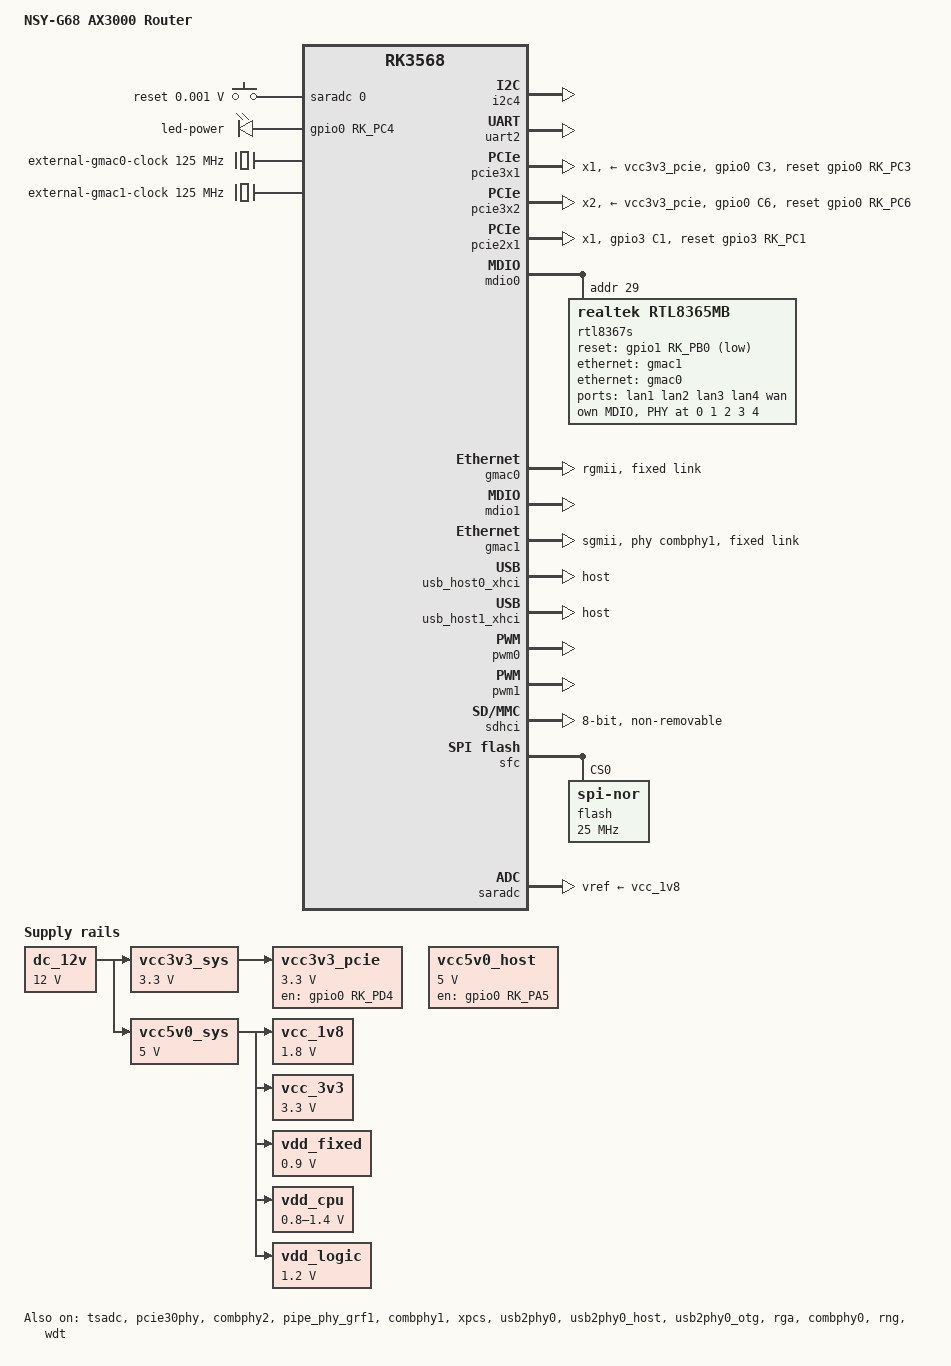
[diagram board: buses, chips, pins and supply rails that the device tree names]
// SPDX-License-Identifier: (GPL-2.0+ OR MIT)

/dts-v1/;

#include <dt-bindings/gpio/gpio.h>
#include <dt-bindings/pwm/pwm.h>
#include <dt-bindings/leds/common.h>
#include <dt-bindings/input/input.h>
#include <dt-bindings/soc/rockchip,vop2.h>
#include <dt-bindings/pinctrl/rockchip.h>
#include "rk3568.dtsi"

/ {
	model = "NSY-G68 AX3000 Router";
	compatible = "nsy,g68-plus", "rockchip,rk3568";

	aliases {
		ethernet0 = &gmac0;
		ethernet1 = &gmac1;
		mmc0 = &sdhci;
	};

	chosen: chosen {
		stdout-path = "serial2:1500000n8";
	};

	fiq-debugger {
		compatible = "rockchip,fiq-debugger";
		rockchip,serial-id = <2>;
		rockchip,wake-irq = <0>;
		/* If enable uart uses irq instead of fiq */
		rockchip,irq-mode-enable = <1>;
		rockchip,baudrate = <1500000>;  /* Only 115200 and 1500000 */
		interrupts = <GIC_SPI 252 IRQ_TYPE_LEVEL_LOW>;
		pinctrl-names = "default";
		pinctrl-0 = <&uart2m0_xfer>;
		status = "okay";
	};

	debug: debug@fd904000 {
		compatible = "rockchip,debug";
		reg = <0x0 0xfd904000 0x0 0x1000>,
			<0x0 0xfd905000 0x0 0x1000>,
			<0x0 0xfd906000 0x0 0x1000>,
			<0x0 0xfd907000 0x0 0x1000>;
	};

	dc_12v: dc-12v {
		compatible = "regulator-fixed";
		regulator-name = "dc_12v";
		regulator-always-on;
		regulator-boot-on;
		regulator-min-microvolt = <12000000>;
		regulator-max-microvolt = <12000000>;
	};

	vcc3v3_sys: vcc3v3-sys {
		compatible = "regulator-fixed";
		regulator-name = "vcc3v3_sys";
		regulator-always-on;
		regulator-boot-on;
		regulator-min-microvolt = <3300000>;
		regulator-max-microvolt = <3300000>;
		vin-supply = <&dc_12v>;
	};

	vcc5v0_sys: vcc5v0-sys {
		compatible = "regulator-fixed";
		regulator-name = "vcc5v0_sys";
		regulator-always-on;
		regulator-boot-on;
		regulator-min-microvolt = <5000000>;
		regulator-max-microvolt = <5000000>;
		vin-supply = <&dc_12v>;
	};

	vcc5v0_host: vcc5v0-host-regulator {
		compatible = "regulator-fixed";
		regulator-name = "vcc5v0_host";
		regulator-boot-on;
		regulator-always-on;
		regulator-min-microvolt = <5000000>;
		regulator-max-microvolt = <5000000>;
		enable-active-high;
		gpio = <&gpio0 RK_PA5 GPIO_ACTIVE_HIGH>;
		pinctrl-names = "default";
		pinctrl-0 = <&vcc5v0_host_en>;
	};

	vcc_1v8: vcc-1v8 {
		compatible = "regulator-fixed";
		regulator-name = "vcc_1v8";
		regulator-always-on;
		regulator-boot-on;
		regulator-min-microvolt = <1800000>;
		regulator-max-microvolt = <1800000>;
		vin-supply = <&vcc5v0_sys>;
	};

	vcc_3v3: vcc_3v3 {
		compatible = "regulator-fixed";
		regulator-name = "vcc_3v3";
		regulator-always-on;
		regulator-boot-on;
		regulator-min-microvolt = <3300000>;
		regulator-max-microvolt = <3300000>;
		vin-supply = <&vcc5v0_sys>;
	};

	vcc3v3_pcie: vcc3v3-pcie {
		compatible = "regulator-fixed";
		regulator-name = "vcc3v3_pcie";
		enable-active-high;
		gpio = <&gpio0 RK_PD4 GPIO_ACTIVE_HIGH>;
		regulator-min-microvolt = <3300000>;
		regulator-max-microvolt = <3300000>;
		vin-supply = <&vcc3v3_sys>;
	};

	vccio_sd: LDO_REG5 {
		regulator-always-on;
		regulator-boot-on;
		regulator-min-microvolt = <1800000>;
		regulator-max-microvolt = <3300000>;
		regulator-name = "vccio_sd";

		regulator-state-mem {
			regulator-off-in-suspend;
		};
	};

	vcc3v3_sd: SWITCH_REG2 {
		regulator-always-on;
		regulator-boot-on;
		regulator-name = "vcc3v3_sd";

		regulator-state-mem {
			regulator-off-in-suspend;
		};
	};

	vdd_fixed: vdd-fixed {
		compatible = "regulator-fixed";
		regulator-name = "vdd_fixed";
		regulator-min-microvolt = <900000>;
		regulator-max-microvolt = <900000>;
		regulator-always-on;
		regulator-boot-on;
		vin-supply = <&vcc5v0_sys>;
	};

	vdd_cpu: vdd-cpu {
		compatible = "pwm-regulator";
		rockchip,pwm_id = <0>;
		rockchip,pwm_voltage = <900000>;
		pwms = <&pwm0 0 25000 1>;
		regulator-name = "vdd_cpu";
		regulator-min-microvolt = <800000>;
		regulator-max-microvolt = <1400000>;
		regulator-init-microvolt = <1150000>;
		regulator-always-on;
		regulator-boot-on;
		regulator-settling-time-up-us = <250>;
		pwm-supply = <&vcc5v0_sys>;
		status = "okay";
	};


	vdd_logic: vdd-logic {
		compatible = "pwm-regulator";
		rockchip,pwm_id = <1>;
		rockchip,pwm_voltage = <900000>;
		pwms = <&pwm1 0 5000 1>;
		regulator-name = "vdd_logic";
		regulator-min-microvolt = <1200000>;
		regulator-max-microvolt = <1200000>;
		regulator-init-microvolt = <900000>;
		regulator-always-on;
		regulator-boot-on;
		regulator-settling-time-up-us = <250>;
		pwm-supply = <&vcc5v0_sys>;
		status = "okay";
	};

	vdd_npu: vdd-npu {
		compatible = "pwm-regulator";
		pwms = <&pwm2 0 5000 1>;
		regulator-name = "vdd_npu";
		regulator-min-microvolt = <800000>;
		regulator-max-microvolt = <1200000>;
		regulator-init-microvolt = <950000>;
		regulator-always-on;
		regulator-boot-on;
		regulator-settling-time-up-us = <250>;
		pwm-supply = <&vcc5v0_sys>;
		status = "disabled";
	};

	gmac0_xpcsclk: xpcs-gmac0-clock {
		compatible = "fixed-clock";
		clock-frequency = <125000000>;
		clock-output-names = "clk_gmac0_xpcs_mii";
		#clock-cells = <0>;
	};

	gmac1_xpcsclk: xpcs-gmac1-clock {
		compatible = "fixed-clock";
		clock-frequency = <125000000>;
		clock-output-names = "clk_gmac1_xpcs_mii";
		#clock-cells = <0>;
	};

	adc_keys: adc-keys {
		compatible = "adc-keys";
		io-channels = <&saradc 0>;
		io-channel-names = "buttons";
		keyup-threshold-microvolt = <1800000>;
		poll-interval = <100>;
		status = "okay";
		recovery-key {
			label = "reset";
			linux,code = <KEY_RESTART>;
			press-threshold-microvolt = <1000>;
		};
	};

	leds {
		compatible = "gpio-leds";
		led-power {
			label = "led-power";
			default-state = "on";
			gpios = <&gpio0 RK_PC4 GPIO_ACTIVE_HIGH>;
			pinctrl-names = "default";
			pinctrl-0 = <&led_power_en>;
		};
	};

	rtlgsw@0 {
		compatible = "realtek,rtl8367s";
		realtek,mdio = <&mdio0>;
		mii-bus = <&mdio0>;
		realtek,id = <29>;
		phy-id = <29>;
		cpu_port = <7>;

		//txdelay, rxdelay, mode, ability.force_mode, ability.txpause, ability.rxpause, ability.link, ability.duplex, speed
		//sgmii,
		realtek,extif1 = <0 0 11 1 1 1 1 1 2>;
		//rgmii
		realtek,extif2 = <0 0 1 1 1 1 1 1 2>;
		//realtek,disable-leds;
		status = "okay";
	};
	
	rockchip-suspend {
		compatible = "rockchip,pm-rk3568";
		status = "okay";
		rockchip,sleep-debug-en = <0x01>;
		rockchip,sleep-mode-config = <0x4e4>;
		rockchip,wakeup-config = <0x2001>;
	};

	external-gmac0-clock {
		#clock-cells = <0x00>;
		clock-frequency = <125000000>;
		clock-output-names = "gmac0_clkin";
		compatible = "fixed-clock";
	};

	external-gmac1-clock {
		#clock-cells = <0x00>;
		clock-frequency = <125000000>;
		clock-output-names = "gmac1_clkin";
		compatible = "fixed-clock";
	};
};

&i2c0 {
	status = "disabled";
};

&i2c4 {
	status = "okay";
};

&pinctrl {
	usb {
		vcc5v0_host_en: vcc5v0-host-en {
			rockchip,pins = <0 RK_PA5 RK_FUNC_GPIO &pcfg_pull_none>;
		};
	};

	pcie {
		pcie30x1_reset_h: pcie30x1-reset-h {
			rockchip,pins = <0 RK_PC3 RK_FUNC_GPIO &pcfg_pull_none>;
		};
		pcie30x2_reset_h: pcie30x2-reset-h {
			rockchip,pins = <0 RK_PC6 RK_FUNC_GPIO &pcfg_pull_none>;
		};
		pcie2x1_reset_h: pcie2x1-reset-h {
			rockchip,pins = <3 RK_PC1 RK_FUNC_GPIO &pcfg_pull_none>;
		};
	};

	gmac-reset {
		gmac0_reset: gmac0-reset {
			rockchip,pins = <1 RK_PB0 RK_FUNC_GPIO &pcfg_pull_none>;
		};
	};

	leds {
		led_power_en: led-power-en {
			rockchip,pins = <0 RK_PC4 RK_FUNC_GPIO &pcfg_pull_none>;
		};
	};
};

&cpu0 {
	cpu-supply = <&vdd_cpu>;
};

&cpu1 {
	cpu-supply = <&vdd_cpu>;
};

&cpu2 {
	cpu-supply = <&vdd_cpu>;
};

&cpu3 {
	cpu-supply = <&vdd_cpu>;
};

&tsadc {
	rockchip,hw-tshut-mode = <1>;
	rockchip,hw-tshut-polarity = <0>;
	status = "okay";
};

&uart2 {
	status = "okay";
};

&pcie30_phy_grf {
};

// 注意两条 pcie reset gpio 均与 NSY不同
// fe270000
// 这里需要更换uboot版本,因为只有支持的pcie拆分的才能启动这个
// 不然开启就挂死,更换版本:https://github.com/Kwiboo/u-boot-rockchip
// https://lists.denx.de/pipermail/u-boot/2023-August/525793.html
// 这个pcie,可能需要打补丁,使用radxa 版本
&pcie3x1 {
		rockchip,bifurcation;
		vpcie3v3-supply = <&vcc3v3_pcie>;
		reset-gpios = <&gpio0 RK_PC3 GPIO_ACTIVE_HIGH>;
		num-lanes = <1>; /*可能不生效,但是拆分需要打补丁,如果是吧,打补丁*/
		pinctrl-0 = <&pcie30x1_reset_h>;
		num-viewport = <0x08>;
		status = "okay";
};

//fe280000
&pcie3x2 {
		rockchip,bifurcation;
		vpcie3v3-supply = <&vcc3v3_pcie>;
		reset-gpios = <&gpio0 RK_PC6 GPIO_ACTIVE_HIGH>;
		status = "okay";
		num-lanes = <2>;
		pinctrl-0 = <&pcie30x2_reset_h>;
		num-viewport = <0x08>;
		ranges = <0x01000000 0x0 0xf0100000 0x0 0xf0100000 0x0 0x00100000>,
				<0x02000000 0x0 0xf0200000 0x0 0xf0200000 0x0 0x01e00000>,
				<0x03000000 0x0 0x40000000 0x4 0x80000000 0x0 0x80000000 >;
};

&pcie30phy {
		data-lanes = <1 2>; //配置lan的通道树
		status = "okay";
};

&combphy2 {
		status = "okay";
};

&pcie2x1 {
		reset-gpios = <&gpio3 RK_PC1 GPIO_ACTIVE_HIGH>;
		pinctrl-0 = <&pcie2x1_reset_h>;
		num-lanes = <1>;
		//for kernel.dts
		rockchip,perst-inactive-ms = <500>;
		num-viewport = <0x08>;
		status = "okay";
};

/*使用DSA驱动模型*/
&mdio0 {
	status = "okay";
	#address-cells = <1>;
    #size-cells = <0>;

	rtl8367s: switch@29 {
			compatible = "realtek,rtl8365mb";
			reg = <29>;
			dsa,member = <1 0>;
			reset-gpios = <&gpio1 RK_PB0 GPIO_ACTIVE_LOW>;
			pinctrl-names = "default";
			reset-assert-us = <20000>;
			reset-deassert-us = <100000>;
			pinctrl-0 = <&gmac0_reset>;
			status = "okay";
			mdio {
				#address-cells = <1>;
				#size-cells = <0>;

				ethphy0: ethernet-phy@0 {
					reg = <0>;
				};

				ethphy1: ethernet-phy@1 {
					reg = <1>;
				};

				ethphy2: ethernet-phy@2 {
					reg = <2>;
				};

				ethphy3: ethernet-phy@3 {
					reg = <3>;
				};
				ethphy4: ethernet-phy@4 {
					reg = <4>;
				};
			};
			ports {
					#address-cells = <1>;
					#size-cells = <0>;

					port@0 {
							reg = <0>;
							label = "lan1";
							phy-handle = <&ethphy0>;
					};

					port@1 {
							reg = <1>;
							label = "lan2";
							phy-handle = <&ethphy1>;
					};

					port@2 {
							reg = <2>;
							label = "lan3";
							phy-handle = <&ethphy2>;
					};

					port@3 {
							reg = <3>;
							label = "lan4";
							phy-handle = <&ethphy3>;
					};
					port@4 {
							reg = <4>;
							label = "wan";
							phy-handle = <&ethphy4>;
					};

					port@6 {
							reg = <6>;
							ethernet = <&gmac1>;
							phy-mode = "sgmii";
							tx-internal-delay-ps = <0>;
							rx-internal-delay-ps = <0>;
							fixed-link {
								speed = <1000>;
								full-duplex;
								pause;
							};
					};
					port@7 {
							reg = <7>;
							ethernet = <&gmac0>;
							phy-mode = "rgmii";
							tx-internal-delay-ps = <0>;
							rx-internal-delay-ps = <0>;
							fixed-link {
								speed = <1000>;
								full-duplex;
								pause;
							};
					};

			};
	};
};

&gmac0 {
	status = "okay";
	phy-mode = "rgmii";
	clock_in_out = "output";
	// reset gpio 写到交换机配置里面
	// snps,reset-gpio = <&gpio1 RK_PB0 GPIO_ACTIVE_LOW>;
	// snps,reset-active-low;
	// snps,reset-delays-us = <0x00 20000 100000>;
	assigned-clocks = <&cru SCLK_GMAC0_RX_TX &cru SCLK_GMAC0>;
	assigned-clock-parents = <&cru SCLK_GMAC0_RGMII_SPEED &cru CLK_MAC0_2TOP>;
	assigned-clock-rates = <0x0 125000000>;
	tx_delay = <0x28>;
	rx_delay = <0x37>;
	pinctrl-names = "default";
	pinctrl-0 = <&gmac0_miim &gmac0_tx_bus2 &gmac0_rx_bus2 &gmac0_rgmii_clk &gmac0_rgmii_bus /*&gmac0_reset*/>;
	fixed-link {
		speed = <1000>;
		full-duplex;
		pause;
	};
};

&mdio1 {
	status = "okay";
};

&pipe_phy_grf1 {
	status = "okay";
};

&combphy1 {
	rockchip,sgmii-mac-sel = <1>;
	status = "okay";
};

&xpcs {
	status = "okay";
};

&gmac1 {
	status = "okay";
	phy-mode = "sgmii";
	clock_in_out = "input";
	rockchip,pipegrf = <&pipegrf>;
	rockchip,xpcs = <&xpcs>;
	assigned-clocks = <&cru SCLK_GMAC1_RX_TX>;
	assigned-clock-parents = <&gmac1_xpcsclk>;
	pinctrl-names = "default";
	pinctrl-0 = <&gmac1m1_miim>;
	power-domains = <&power RK3568_PD_PIPE>;
	phys = <&combphy1 PHY_TYPE_SGMII>;
	fixed-link {
		speed = <1000>;
		full-duplex;
		pause;
	};
};

&usb2phy0 {
	status = "okay";
};

&usb2phy0_host {
	//phy-supply = <&vcc5v0_host>;
	status = "okay";
};

&usb2phy0_otg {
	status = "okay";
};

&usb_host0_xhci {
	dr_mode = "host";//自动检测
	//extcon = <&combphy0>;
	status = "okay";
	extcon = <&usb2phy0>; //超过rxda测试
	snps,dis_enblslpm_quirk;
	snps,dis-u1-entry-quirk;
	snps,dis-u2-entry-quirk;
	snps,dis_u2_susphy_quirk;
	snps,dis_u3_susphy_quirk;
	snps,dis-u2-freeclk-exists-quirk;
	snps,dis-del-phy-power-chg-quirk;
	snps,dis-tx-ipgap-linecheck-quirk;
	snps,dis_rxdet_inp3_quirk;
	snps,parkmode-disable-hs-quirk;
	snps,parkmode-disable-ss-quirk;
	quirk-skip-phy-init;
};

&usb_host1_xhci {
	dr_mode = "host";//自动检测
	snps,dis_enblslpm_quirk;
	snps,dis-u2-freeclk-exists-quirk;
	snps,dis-del-phy-power-chg-quirk;
	snps,dis-tx-ipgap-linecheck-quirk;
	snps,dis_rxdet_inp3_quirk;
	snps,parkmode-disable-hs-quirk;
	snps,parkmode-disable-ss-quirk;
	status = "okay";
};

&sata2 {
	status = "disabled";
};

&pmu_io_domains {
	status = "disabled";
};

&pwm0 {
	status = "okay";
};

&pwm1 {
	status = "okay";
};

&pwm2 {
	status = "disable";
};

&pwm3 {
	status = "disable";
};

&power {
	status = "okay";
};

&gpu {
	status = "disabled";
};

&vpu {
	status = "disabled";
};

&rga {
	status = "okay";
};

&vepu {
	status = "disabled";
};

&vop {
	status = "disabled";
};

//sdhci@fe310000
&sdhci {
	max-frequency = <200000000>;
	bus-width = <8>;
	no-sdio;
	no-sd;
	supports-emmc;
	non-removable;
	cap-mmc-highspeed;
	mmc-ddr-1_8v;
	mmc-hs200-1_8v;
	mmc-hs400-1_8v;
	mmc-hs400-enhanced-strobe;
	pinctrl-names = "default";
	pinctrl-0 = <&emmc_bus8 &emmc_clk &emmc_cmd &emmc_datastrobe>;
	full-pwr-cycle-in-suspend;
	status = "okay";
};

//dwmmc@fe000000
&sdmmc2 {
	max-frequency = <150000000>;
	fifo-depth = <256>;
	no-sd;
	no-mmc;
	bus-width = <4>;
	disable-wp;
	cap-sd-highspeed;
	cap-sdio-irq;
	keep-power-in-suspend;
	sd-uhs-sdr104;
	non-removable;
	pinctrl-names = "default";
	pinctrl-0 = <&sdmmc2m0_bus4 &sdmmc2m0_cmd &sdmmc2m0_clk>;
	status = "disabled";
};

//dwmmc@fe2b0000
&sdmmc0 {
	max-frequency = <150000000>;
	fifo-depth = <256>;
	no-sdio;
	bus-width = <4>;
	cap-mmc-highspeed;
	cap-sd-highspeed;
	disable-wp;
	sd-uhs-sdr104;
	vmmc-supply = <&vcc3v3_sd>;
	vqmmc-supply = <&vccio_sd>;
	pinctrl-names = "default";
	pinctrl-0 = <&sdmmc0_bus4 &sdmmc0_clk &sdmmc0_cmd &sdmmc0_det>;
	status = "disabled";
};

&combphy0 {
	status = "okay";
};

&csi_dphy {
	status = "disabled";
};

/* Add #address-cells, #size-cells */
&sfc {
	status = "okay";
	#address-cells = <1>;  /* One cell for the chip select */
	#size-cells = <0>;     /* No cell for the size */
	assigned-clocks = <&cru SCLK_SFC>;
	assigned-clock-rates = <100000000>;
	flash@0 {
		compatible = "spi-nor";
		reg = <0>;
		spi-max-frequency = <25000000>;
		spi-rx-bus-width = <1>;
		spi-tx-bus-width = <1>;
	};
};

&rng {
	reset-names = "reset";
	status = "okay";
};

//i2c@fe5a0000
&i2c1 {
	status = "disabled";
};

&i2c4 {
	status = "okay";
};

&i2c5 {
	status = "disabled";
};

&wdt {
	status = "okay";
};

&uart8 {
	status = "disabled";
};

&pwm4 {
	status = "disabled";
};

&pwm5 {
	status = "disabled";
};

&pwm7 {
	status = "disabled";
};

&pwm8 {
	status = "disabled";
};

&pwm9 {
	status = "disabled";
};

//fe720000
&saradc {
	status = "okay";
	vref-supply = <&vcc_1v8>;
};
